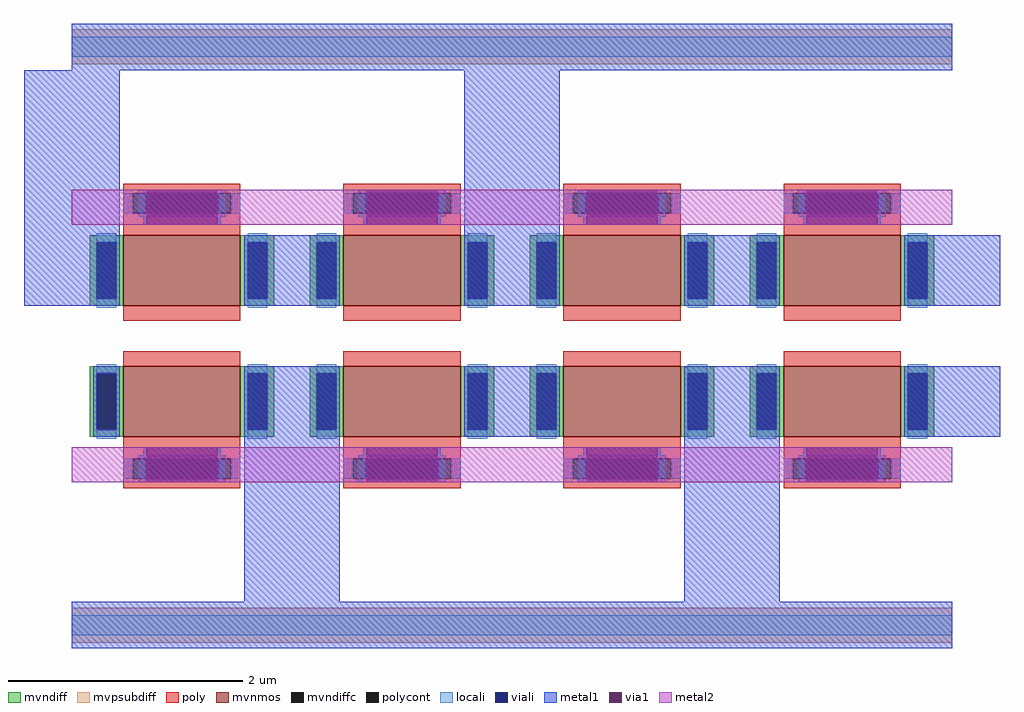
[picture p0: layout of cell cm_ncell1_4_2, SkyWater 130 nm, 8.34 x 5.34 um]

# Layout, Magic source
magic
tech sky130A
magscale 1 2
<< metal1 >>
rect -98 24 66 426
rect 278 24 442 144
rect 654 24 818 426
rect 1030 24 1194 144
rect 1406 24 1570 144
rect 278 -482 442 -80
rect 654 -200 818 -80
rect 1030 -482 1194 -80
rect 1406 -200 1570 -80
use cm_ncell1_4  cm_ncell1_4_0
transform 1 0 -5 0 1 -57
box -11 55 1493 563
use cm_ncell1_4  cm_ncell1_4_1
transform 1 0 -5 0 -1 1
box -11 55 1493 563
<< end >>

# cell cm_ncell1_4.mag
magic
tech sky130A
magscale 1 2
<< mvpsubdiff >>
rect -11 493 1493 553
<< locali >>
rect -11 506 1493 540
<< metal1 >>
rect -11 483 1493 563
use cm_ncell_4  cm_ncell_4_0 ~/10-bit-DAC/mag
transform 1 0 19 0 1 71
box -30 -16 1474 218
<< end >>

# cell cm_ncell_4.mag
magic
tech sky130A
magscale 1 2
use cm_ncell_2  cm_ncell_2_0
transform 1 0 4 0 1 -5
box -34 -11 718 223
use cm_ncell_2  cm_ncell_2_1
transform 1 0 756 0 1 -5
box -34 -11 718 223
<< end >>

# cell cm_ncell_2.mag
magic
tech sky130A
magscale 1 2
<< metal2 >>
rect -34 153 718 213
use cm_ncell_1  cm_ncell_1_0
transform 1 0 19 0 1 -4
box -23 -7 293 227
use cm_ncell_1  cm_ncell_1_1
transform 1 0 395 0 1 -4
box -23 -7 293 227
<< end >>

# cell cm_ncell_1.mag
magic
tech sky130A
magscale 1 2
<< metal1 >>
rect 69 157 75 217
rect 195 157 201 217
<< via1 >>
rect 75 157 195 217
<< metal2 >>
rect 69 157 75 217
rect 195 157 201 217
use sky130_fd_pr__nfet_g5v0d10v5_QKV39N  sky130_fd_pr__nfet_g5v0d10v5_QKV39N_0
transform 1 0 135 0 1 110
box -158 -117 158 117
<< end >>

# cell sky130_fd_pr__nfet_g5v0d10v5_QKV39N: kit device sky130_fd_pr__nfet_g5v0d10v5, w 0.6 l 1 m 1 nf 1 diffcov 100 polycov 100 guard 0 glc 1 grc 1 gtc 1 gbc 1 tbcov 100 rlcov 100 topc 1 botc 0 poverlap 0 doverlap 1 lmin 0.50 wmin 0.42 compatible {sky130_fd_pr__nfet_01v8 sky130_fd_pr__nfet_01v8_lvt sky130_fd_bs_flash__special_sonosfet_star sky130_fd_pr__nfet_g5v0d10v5 sky130_fd_pr__nfet_05v0_nvt sky130_fd_pr__nfet_03v3_nvt} full_metal 1 viasrc 100 viadrn 100 viagate 75 viagb 0 viagr 0 viagl 0 viagt 0
